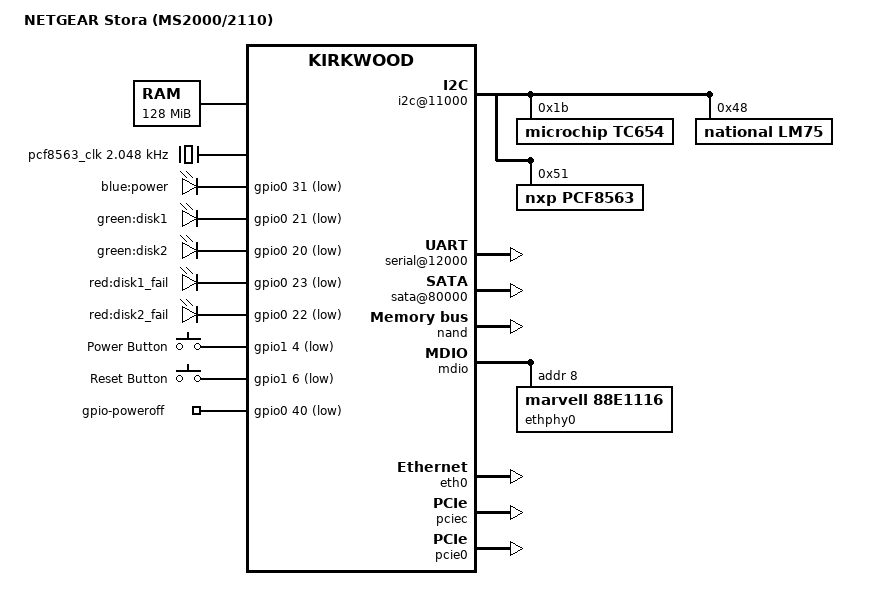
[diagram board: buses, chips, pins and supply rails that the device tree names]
// SPDX-License-Identifier: GPL-2.0-or-later
/*
 * Device Tree file for NETGEAR Stora (MS2000/2110)
 *
 * Copyright (C) 2013, Arnaud EBALARD <arno@natisbad.org>
 * Copyright (C) 2021, Zoltan HERPAI <wigyori@uid0.hu>
 */

/dts-v1/;

#include "kirkwood.dtsi"
#include "kirkwood-6281.dtsi"

/ {
	model = "NETGEAR Stora (MS2000/2110)";
	compatible = "netgear,stora", "marvell,kirkwood-88f6281", "marvell,kirkwood";

	memory { /* 128 MB */
		device_type = "memory";
		reg = <0x00000000 0x8000000>;
	};

	aliases {
		led-boot = &led_power;
		led-failsafe = &led_power;
		led-running = &led_power;
		led-upgrade = &led_power;
	};

	chosen {
		bootargs = "console=ttyS0,115200n8 earlyprintk";
		stdout-path = &uart0;
	};

	ocp@f1000000 {
		pinctrl: pin-controller@10000 {
			pmx_button_power: pmx-button-power {
				marvell,pins = "mpp36";
				marvell,function = "gpio";
			};

			pmx_button_reset: pmx-button-reset {
				marvell,pins = "mpp38";
				marvell,function = "gpio";
			};

			pmx_led_blue_power: pmx-led-blue-power {
				marvell,pins = "mpp31";
				marvell,function = "gpio";
			};

			pmx_led_green_disk1: pmx-led-green-disk1 {
				marvell,pins = "mpp21";
				marvell,function = "gpio";
			};

			pmx_led_green_disk2: pmx-led-green-disk2 {
				marvell,pins = "mpp20";
				marvell,function = "gpio";
			};

			pmx_led_red_disk1: pmx-led-red-disk1 {
				marvell,pins = "mpp23";
				marvell,function = "gpio";
			};

			pmx_led_red_disk2: pmx-led-red-disk2 {
				marvell,pins = "mpp22";
				marvell,function = "gpio";
			};

			pmx_poweroff: pmx-poweroff {
				marvell,pins = "mpp40";
				marvell,function = "gpio";
			};

			pmx_fan_tacho: pmx-fan-tacho {
				marvell,pins = "mpp41";
				marvell,function = "gpio";
			};
		};

		clocks {
			pcf8563_clk: pcf8563-oscillator {
				 compatible = "fixed-clock";
				 #clock-cells = <0>;
				 clock-frequency = <2048>;
			};
		};

		i2c@11000 {
			status = "okay";

			tc654@1b {
				compatible = "microchip,tc654";
				reg = <0x1b>;
			};

			lm75@48 {
				compatible = "national,lm75";
				reg = <0x48>;
			};

			pcf8563@51 {
				compatible = "nxp,pcf8563";
				reg = <0x51>;
			};
		};

		serial@12000 {
			status = "okay";
		};

		sata@80000 {
			status = "okay";
			phy-names = "port0", "port1";
			nr-ports = <2>;
		};
	};

	gpio-leds {
		compatible = "gpio-leds";
		pinctrl-0 = < &pmx_led_blue_power
			      &pmx_led_green_disk1 &pmx_led_green_disk2
			      &pmx_led_red_disk1 &pmx_led_red_disk2 >;
		pinctrl-names = "default";

		led_power: power {
			label = "blue:power";
			gpios = <&gpio0 31 GPIO_ACTIVE_LOW>;
			linux,default-trigger = "default-on";
		};

		disk1 {
			label = "green:disk1";
			gpios = <&gpio0 21 GPIO_ACTIVE_LOW>;
			linux,default-trigger = "ata1";
		};

		disk2 {
			label = "green:disk2";
			gpios = <&gpio0 20 GPIO_ACTIVE_LOW>;
			linux,default-trigger = "ata2";
		};

		disk1_fail {
			label = "red:disk1_fail";
			gpios = <&gpio0 23 GPIO_ACTIVE_LOW>;
		};

		disk2_fail {
			label = "red:disk2_fail";
			gpios = <&gpio0 22 GPIO_ACTIVE_LOW>;
		};
	};

	gpio-keys {
		compatible = "gpio-keys";
		pinctrl-0 = <&pmx_button_power &pmx_button_reset >;
		pinctrl-names = "default";

		power {
			label = "Power Button";
			linux,code = <KEY_POWER>;
			gpios = <&gpio1 4 GPIO_ACTIVE_LOW>;
		};

		reset {
			label = "Reset Button";
			linux,code = <KEY_RESTART>;
			gpios = <&gpio1 6 GPIO_ACTIVE_LOW>;
		};
	};

	gpio-poweroff {
		compatible = "gpio-poweroff";
		pinctrl-0 = <&pmx_poweroff>;
		pinctrl-names = "default";
		gpios = <&gpio0 40 GPIO_ACTIVE_LOW>;
	};
};

&nand {
	status = "okay";
	chip-delay = <40>;

	partition@0 {
		label = "u-boot";
		reg = <0x0000000 0x0e0000>;
		read-only;
	};

	partition@e0000 {
		label = "u-boot-env";
		reg = <0x0e00000 0x020000>;
	};

	partition@100000 {
		label = "ubi";
		reg = <0x0100000 0xff00000>;
	};
};

&mdio {
	status = "okay";

	ethphy0: ethernet-phy@0 { /* Marvell 88E1318 */
		compatible = "marvell,88e1116";
		reg = <8>;
	};
};

&eth0 {
	status = "okay";

	ethernet0-port@0 {
		phy-handle = <&ethphy0>;
	};
};

&pciec {
	status = "okay";
};

&pcie0 {
	status = "okay";
};
